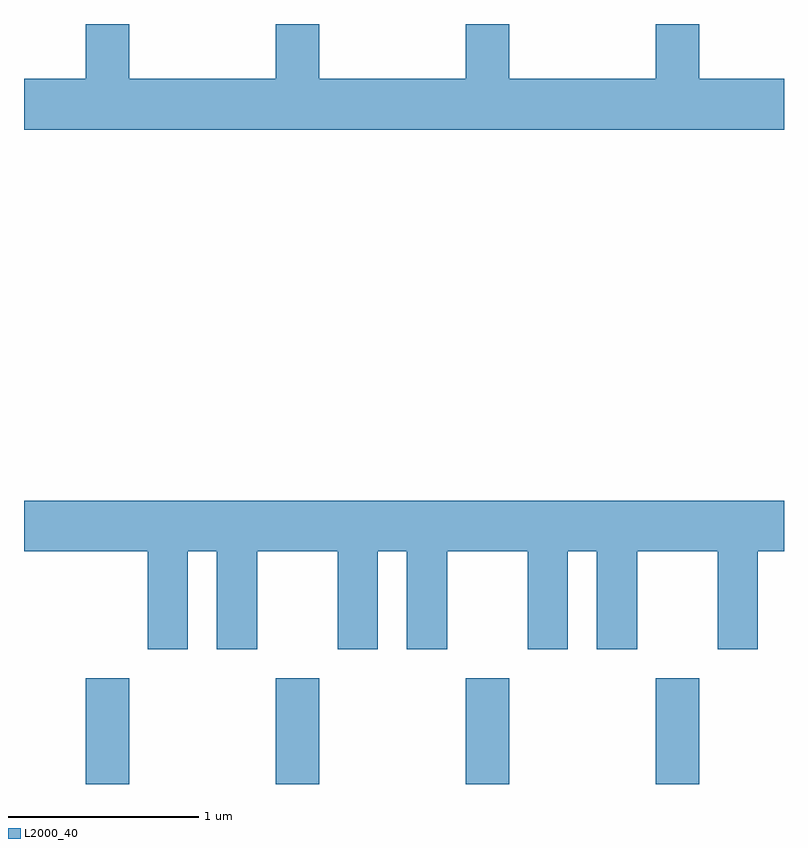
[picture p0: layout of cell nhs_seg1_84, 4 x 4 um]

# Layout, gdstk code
import gdstk
lib = gdstk.Library(unit=1e-6, precision=1e-09)
def R(c, l, rs):  # rectangles x0, y0, x1, y1
    for r in rs: c.add(gdstk.rectangle(r[:2], r[2:], *l))
def A(c, l, x, y, w, h, nx, ny, dx, dy):  # array of equal rectangles
    R(c, l, [(x+i*dx, y+j*dy, x+i*dx+w, y+j*dy+h) for i in range(nx) for j in range(ny)])
def P(c, l, *ps):  # polygons
    for p in ps: c.add(gdstk.Polygon(p, *l))
L2000_40 = (2000, 40)

nhs_seg1_84 = lib.new_cell('nhs_seg1_84')
A(nhs_seg1_84, L2000_40, 187.936, 871.712, 0.228, 0.557, 4, 1, 1, 0)
P(nhs_seg1_84, L2000_40, [(191.611,875.424),(191.164,875.424),(191.164,875.712),(190.936,875.712),(190.936,875.424),(190.164,875.424),(190.164,875.712),(189.936,875.712),(189.936,875.424),(189.164,875.424),(189.164,875.712),(188.936,875.712),(188.936,875.424),(188.164,875.424),(188.164,875.712),(187.936,875.712),(187.936,875.424),(187.611,875.424),(187.611,875.156),(191.611,875.156)],
  [(188.474,872.936),(188.626,872.936),(188.626,872.421),(188.839,872.421),(188.839,872.936),(189.261,872.936),(189.261,872.421),(189.474,872.421),(189.474,872.936),(189.626,872.936),(189.626,872.421),(189.839,872.421),(189.839,872.936),(190.261,872.936),(190.261,872.421),(190.474,872.421),(190.474,872.936),(190.626,872.936),(190.626,872.421),(190.839,872.421),(190.839,872.936),(191.261,872.936),(191.261,872.421),(191.474,872.421),(191.474,872.936),(191.611,872.936),(191.611,873.204),(187.611,873.204),(187.611,872.936),(188.261,872.936),(188.261,872.421),(188.474,872.421)])

lib.write_gds('nhs_seg1_84.gds')
